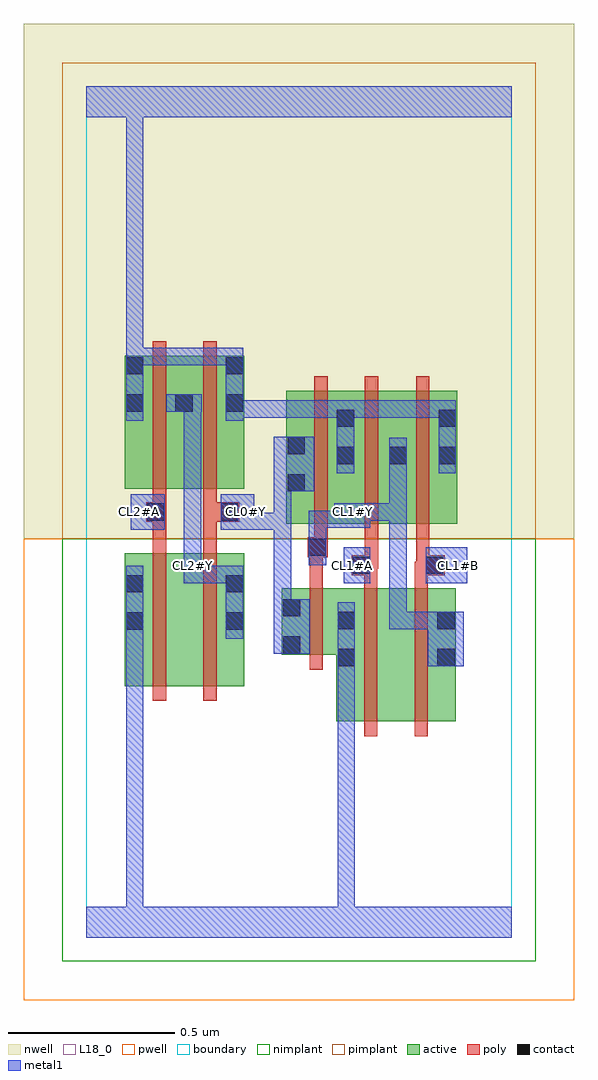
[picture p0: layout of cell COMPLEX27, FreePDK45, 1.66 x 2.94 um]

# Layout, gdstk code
import gdstk
lib = gdstk.Library(unit=1e-6, precision=1e-09)
def R(c, l, rs):  # rectangles x0, y0, x1, y1
    for r in rs: c.add(gdstk.rectangle(r[:2], r[2:], *l))
def A(c, l, x, y, w, h, nx, ny, dx, dy):  # array of equal rectangles
    R(c, l, [(x+i*dx, y+j*dy, x+i*dx+w, y+j*dy+h) for i in range(nx) for j in range(ny)])
active = (1, 0)
pwell = (2, 0)
nwell = (3, 0)
nimplant = (4, 0)
pimplant = (5, 0)
poly = (9, 0)
contact = (10, 0)
metal1 = (11, 0)
L18_0 = (18, 0)
boundary = (235, 0)

complex27 = lib.new_cell('COMPLEX27')
R(complex27, active, [(0.752,0.65,0.932,1.05), (0.752,0.65,0.812,1.05), (0.932,0.65,1.112,1.05), (0.116,0.756,0.296,1.156), (0.116,0.756,0.176,1.156), (0.296,0.756,0.476,1.156), (0.416,0.756,0.476,1.156), (1.052,0.756,1.112,1.05), (0.588,0.85,0.812,1.05), (0.588,0.85,0.648,1.05), (0.602,1.244,0.662,1.644), (0.602,1.244,0.81,1.644), (0.75,1.244,0.968,1.644), (0.908,1.244,1.116,1.644), (1.056,1.244,1.116,1.644), (0.116,1.35,0.176,1.75), (0.116,1.35,0.324,1.75), (0.264,1.35,0.476,1.75), (0.416,1.35,0.476,1.75), (0.75,1.42,0.81,1.644), (0.908,1.42,0.968,1.644), (0.264,1.578,0.324,1.644)])
R(complex27, pwell, [(-0.188,-0.188,1.468,1.2)])
R(complex27, nwell, [(-0.188,1.2,1.468,2.748)])
R(complex27, nimplant, [(-0.072,-0.072,1.352,1.2)])
R(complex27, pimplant, [(-0.072,1.2,1.352,2.632)])
R(complex27, poly, [(0.836,0.606,0.876,1.094), (0.988,0.606,1.028,1.094), (0.2,0.712,0.24,1.2), (0.352,0.712,0.392,1.2), (0.672,0.806,0.712,1.094), (0.672,1.054,0.712,1.184), (0.836,1.054,0.876,1.13), (0.988,1.054,1.028,1.13), (0.798,1.09,0.876,1.15), (0.988,1.09,1.032,1.13), (0.992,1.09,1.032,1.13), (0.992,1.09,1.078,1.15), (0.836,1.11,0.876,1.15), (0.836,1.11,0.878,1.15), (0.838,1.11,0.878,1.24), (0.992,1.11,1.032,1.24), (0.666,1.144,0.726,1.204), (0.672,1.144,0.712,1.184), (0.672,1.144,0.712,1.184), (0.2,1.16,0.24,1.29), (0.352,1.16,0.392,1.29), (0.686,1.164,0.726,1.24), (0.686,1.2,0.726,1.688), (0.838,1.2,0.878,1.688), (0.992,1.2,1.032,1.688), (0.18,1.25,0.24,1.31), (0.2,1.25,0.24,1.29), (0.2,1.25,0.24,1.29), (0.352,1.25,0.46,1.31), (0.2,1.27,0.24,1.346), (0.352,1.27,0.392,1.31), (0.352,1.27,0.392,1.31), (0.352,1.27,0.392,1.346), (0.2,1.306,0.24,1.794), (0.352,1.306,0.392,1.794)])
R(complex27, contact, [(0.756,0.816,0.808,0.868), (1.056,0.816,1.108,0.868), (0.592,0.854,0.644,0.906), (0.12,0.926,0.172,0.978), (0.42,0.926,0.472,0.978), (0.756,0.928,0.808,0.98), (1.056,0.928,1.108,0.98), (0.592,0.966,0.644,1.018), (0.12,1.038,0.172,1.09), (0.42,1.038,0.472,1.09), (0.802,1.094,0.854,1.146), (1.022,1.094,1.074,1.146), (0.67,1.148,0.722,1.2), (0.184,1.254,0.236,1.306), (0.404,1.254,0.456,1.306), (0.606,1.342,0.658,1.394), (0.754,1.424,0.806,1.476), (0.912,1.424,0.964,1.476), (1.06,1.424,1.112,1.476), (0.606,1.454,0.658,1.506), (0.754,1.536,0.806,1.588), (1.06,1.536,1.112,1.588), (0.12,1.582,0.172,1.634), (0.268,1.582,0.32,1.634), (0.42,1.582,0.472,1.634), (0.12,1.694,0.172,1.746), (0.42,1.694,0.472,1.746)])
R(complex27, metal1, [(0,0,1.28,0.092), (0.12,0.04,0.172,0.092), (0.12,0.04,0.172,0.092), (0.12,0.04,0.172,0.092), (0.12,0.04,0.172,0.092), (0.12,0.04,0.172,0.092), (0.12,0.04,0.172,0.092), (0.12,0.04,0.172,0.092), (0.12,0.04,0.172,0.092), (0.12,0.04,0.172,0.092), (0.12,0.04,0.172,0.092), (0.12,0.04,0.172,0.092), (0.12,0.04,0.172,0.092), (0.12,0.04,0.172,0.95), (0.756,0.04,0.808,0.092), (0.756,0.04,0.808,0.092), (0.756,0.04,0.808,0.092), (0.756,0.04,0.808,0.092), (0.756,0.04,0.808,0.092), (0.756,0.04,0.808,0.092), (0.756,0.04,0.808,0.092), (0.756,0.04,0.808,0.092), (0.756,0.04,0.808,0.84), (0.756,0.788,0.808,0.84), (0.756,0.788,0.808,0.84), (0.756,0.788,0.808,0.84), (0.756,0.788,0.808,0.84), (0.756,0.788,0.808,1.008), (1.028,0.816,1.136,0.98), (0.564,0.854,0.672,1.018), (0.12,0.898,0.172,1.118), (0.42,0.898,0.472,1.118), (0.912,0.928,0.964,0.98), (0.912,0.928,0.964,0.98), (0.912,0.928,0.964,0.98), (0.912,0.928,1.08,0.98), (0.912,0.928,0.964,1.306), (1.028,0.928,1.08,0.98), (1.028,0.928,1.08,0.98), (0.564,0.966,0.616,1.278), (0.294,1.066,0.346,1.118), (0.294,1.066,0.346,1.118), (0.294,1.066,0.346,1.174), (0.294,1.066,0.472,1.118), (0.42,1.066,0.472,1.118), (0.42,1.066,0.472,1.118), (0.774,1.066,0.854,1.174), (1.022,1.066,1.146,1.174), (0.67,1.12,0.722,1.284), (0.294,1.122,0.346,1.174), (0.294,1.122,0.346,1.174), (0.294,1.122,0.346,1.634), (0.134,1.226,0.236,1.334), (0.404,1.226,0.506,1.334), (0.454,1.226,0.506,1.278), (0.454,1.226,0.506,1.278), (0.454,1.226,0.616,1.278), (0.564,1.226,0.616,1.278), (0.564,1.226,0.616,1.278), (0.564,1.226,0.616,1.278), (0.564,1.226,0.616,1.394), (0.67,1.232,0.798,1.284), (0.746,1.232,0.854,1.306), (0.802,1.254,0.964,1.306), (0.912,1.254,0.964,1.306), (0.912,1.254,0.964,1.306), (0.912,1.254,0.964,1.306), (0.912,1.254,0.964,1.448), (0.564,1.342,0.686,1.506), (0.754,1.396,0.806,1.616), (0.912,1.396,0.964,1.504), (1.06,1.396,1.112,1.616), (0.12,1.554,0.172,1.774), (0.42,1.554,0.472,1.774), (0.42,1.564,0.616,1.616), (0.564,1.564,0.616,1.616), (0.564,1.564,0.616,1.616), (0.564,1.564,0.616,1.616), (0.564,1.564,0.806,1.616), (0.754,1.564,0.832,1.616), (0.78,1.564,0.832,1.616), (0.78,1.564,0.964,1.616), (0.912,1.564,0.964,1.616), (0.912,1.564,1.112,1.616), (1.06,1.564,1.112,1.616), (1.06,1.564,1.112,1.616), (0.24,1.582,0.348,1.634), (0.12,1.722,0.172,1.774), (0.12,1.722,0.172,1.774), (0.12,1.722,0.172,1.774), (0.12,1.722,0.172,1.774), (0.12,1.722,0.346,1.774), (0.12,1.722,0.172,2.52), (0.294,1.722,0.346,1.774), (0.294,1.722,0.346,1.774), (0.294,1.722,0.346,1.774), (0.294,1.722,0.472,1.774), (0,2.468,1.28,2.56), (0.12,2.468,0.172,2.52), (0.12,2.468,0.172,2.52), (0.12,2.468,0.172,2.52), (0.12,2.468,0.172,2.52), (0.12,2.468,0.172,2.52), (0.12,2.468,0.172,2.52), (0.12,2.468,0.172,2.52), (0.12,2.468,0.172,2.52), (0.12,2.468,0.172,2.52), (0.12,2.468,0.172,2.52), (0.12,2.468,0.172,2.52), (0.12,2.468,0.172,2.52), (0.12,2.468,0.172,2.52), (0.12,2.468,0.172,2.52)])
A(complex27, L18_0, 0.294, 1.066, 0.052, 0.052, 1, 3, 0, 0.028)
A(complex27, L18_0, 0.134, 1.254, 0.052, 0.052, 3, 1, 0.32, 0)
R(complex27, L18_0, [(0,0,1.28,0.092), (0.12,0.04,0.172,0.092), (0.12,0.04,0.172,0.092), (0.12,0.04,0.172,0.092), (0.12,0.04,0.172,0.092), (0.12,0.04,0.172,0.092), (0.12,0.04,0.172,0.092), (0.12,0.04,0.172,0.092), (0.12,0.04,0.172,0.092), (0.12,0.04,0.172,0.092), (0.12,0.04,0.172,0.092), (0.12,0.04,0.172,0.092), (0.12,0.04,0.172,0.092), (0.12,0.04,0.172,0.95), (0.756,0.04,0.808,0.092), (0.756,0.04,0.808,0.092), (0.756,0.04,0.808,0.092), (0.756,0.04,0.808,0.092), (0.756,0.04,0.808,0.092), (0.756,0.04,0.808,0.092), (0.756,0.04,0.808,0.092), (0.756,0.04,0.808,0.092), (0.756,0.04,0.808,0.84), (0.756,0.788,0.808,0.84), (0.756,0.788,0.808,0.84), (0.756,0.788,0.808,0.84), (0.756,0.788,0.808,0.84), (0.756,0.788,0.808,1.008), (1.028,0.816,1.136,0.98), (0.564,0.854,0.672,1.018), (0.12,0.898,0.172,1.118), (0.42,0.898,0.472,1.118), (0.912,0.928,0.964,0.98), (0.912,0.928,0.964,0.98), (0.912,0.928,0.964,0.98), (0.912,0.928,0.964,1.306), (0.912,0.928,1.08,0.98), (1.028,0.928,1.08,0.98), (1.028,0.928,1.08,0.98), (0.564,0.966,0.616,1.278), (0.294,1.066,0.346,1.118), (0.294,1.066,0.346,1.174), (0.294,1.066,0.472,1.118), (0.42,1.066,0.472,1.118), (0.42,1.066,0.472,1.118), (0.774,1.066,0.854,1.174), (1.022,1.066,1.146,1.174), (0.774,1.094,0.826,1.146), (1.094,1.094,1.146,1.146), (0.67,1.12,0.722,1.284), (0.294,1.122,0.346,1.174), (0.294,1.122,0.346,1.634), (0.134,1.226,0.236,1.334), (0.404,1.226,0.506,1.334), (0.454,1.226,0.506,1.278), (0.454,1.226,0.506,1.278), (0.454,1.226,0.616,1.278), (0.564,1.226,0.616,1.278), (0.564,1.226,0.616,1.278), (0.564,1.226,0.616,1.278), (0.564,1.226,0.616,1.394), (0.67,1.232,0.798,1.284), (0.746,1.232,0.854,1.306), (0.802,1.254,0.964,1.306), (0.912,1.254,0.964,1.306), (0.912,1.254,0.964,1.306), (0.912,1.254,0.964,1.306), (0.912,1.254,0.964,1.448), (0.564,1.342,0.686,1.506), (0.754,1.396,0.806,1.616), (0.912,1.396,0.964,1.504), (1.06,1.396,1.112,1.616), (0.12,1.554,0.172,1.774), (0.42,1.554,0.472,1.774), (0.42,1.564,0.616,1.616), (0.564,1.564,0.616,1.616), (0.564,1.564,0.616,1.616), (0.564,1.564,0.616,1.616), (0.564,1.564,0.806,1.616), (0.754,1.564,0.832,1.616), (0.78,1.564,0.832,1.616), (0.78,1.564,0.964,1.616), (0.912,1.564,0.964,1.616), (0.912,1.564,1.112,1.616), (1.06,1.564,1.112,1.616), (1.06,1.564,1.112,1.616), (0.24,1.582,0.348,1.634), (0.12,1.722,0.172,1.774), (0.12,1.722,0.172,1.774), (0.12,1.722,0.172,1.774), (0.12,1.722,0.172,1.774), (0.12,1.722,0.172,2.52), (0.12,1.722,0.346,1.774), (0.294,1.722,0.346,1.774), (0.294,1.722,0.346,1.774), (0.294,1.722,0.346,1.774), (0.294,1.722,0.472,1.774), (0,2.468,1.28,2.56), (0.12,2.468,0.172,2.52), (0.12,2.468,0.172,2.52), (0.12,2.468,0.172,2.52), (0.12,2.468,0.172,2.52), (0.12,2.468,0.172,2.52), (0.12,2.468,0.172,2.52), (0.12,2.468,0.172,2.52), (0.12,2.468,0.172,2.52), (0.12,2.468,0.172,2.52), (0.12,2.468,0.172,2.52), (0.12,2.468,0.172,2.52), (0.12,2.468,0.172,2.52), (0.12,2.468,0.172,2.52), (0.12,2.468,0.172,2.52)])
R(complex27, boundary, [(0,0,1.28,2.56)])
complex27.add(gdstk.Label('CL0#Y', (0.48,1.28), layer=11, texttype=0))
complex27.add(gdstk.Label('CL1#A', (0.8,1.12), layer=11, texttype=0))
complex27.add(gdstk.Label('CL1#B', (1.12,1.12), layer=11, texttype=0))
complex27.add(gdstk.Label('CL1#Y', (0.8,1.28), layer=11, texttype=0))
complex27.add(gdstk.Label('CL2#A', (0.16,1.28), layer=11, texttype=0))
complex27.add(gdstk.Label('CL2#Y', (0.32,1.12), layer=11, texttype=0))

lib.write_gds('COMPLEX27.gds')
